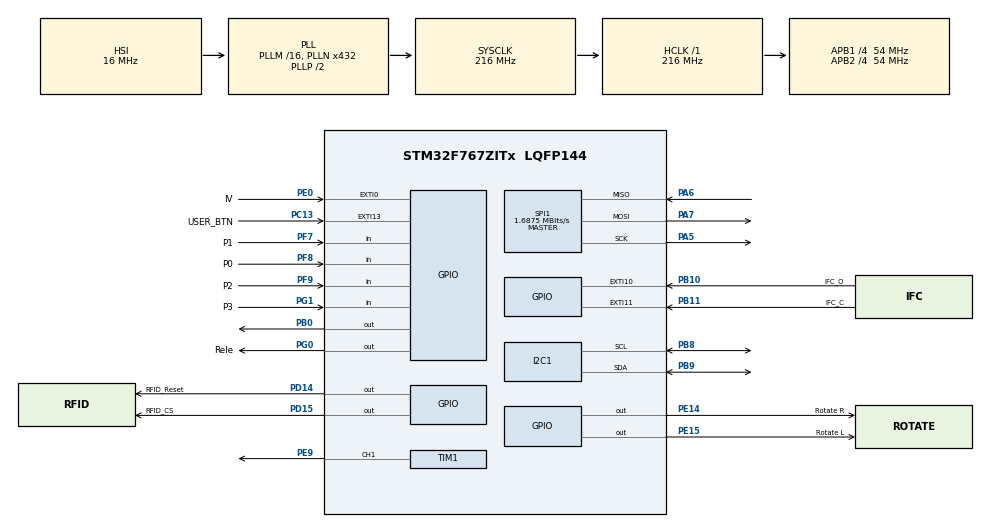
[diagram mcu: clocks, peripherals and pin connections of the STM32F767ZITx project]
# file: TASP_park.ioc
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Dma.I2C1_RX.0.Direction=DMA_PERIPH_TO_MEMORY
Dma.I2C1_RX.0.FIFOMode=DMA_FIFOMODE_DISABLE
Dma.I2C1_RX.0.Instance=DMA1_Stream0
Dma.I2C1_RX.0.MemDataAlignment=DMA_MDATAALIGN_BYTE
Dma.I2C1_RX.0.MemInc=DMA_MINC_ENABLE
Dma.I2C1_RX.0.Mode=DMA_NORMAL
Dma.I2C1_RX.0.PeriphDataAlignment=DMA_PDATAALIGN_BYTE
Dma.I2C1_RX.0.PeriphInc=DMA_PINC_DISABLE
Dma.I2C1_RX.0.Priority=DMA_PRIORITY_LOW
Dma.I2C1_TX.1.Direction=DMA_MEMORY_TO_PERIPH
Dma.I2C1_TX.1.FIFOMode=DMA_FIFOMODE_DISABLE
Dma.I2C1_TX.1.Instance=DMA1_Stream6
Dma.I2C1_TX.1.MemDataAlignment=DMA_MDATAALIGN_BYTE
Dma.I2C1_TX.1.MemInc=DMA_MINC_ENABLE
Dma.I2C1_TX.1.Mode=DMA_NORMAL
Dma.I2C1_TX.1.PeriphDataAlignment=DMA_PDATAALIGN_BYTE
Dma.I2C1_TX.1.PeriphInc=DMA_PINC_DISABLE
Dma.I2C1_TX.1.Priority=DMA_PRIORITY_LOW
Dma.Request0=I2C1_RX
Dma.Request1=I2C1_TX
I2C1.Speed=100
I2C1.Timing=0x20404768
Mcu.Family=STM32F7
Mcu.Name=STM32F767ZITx
Mcu.Package=LQFP144
NVIC.DMA1_Stream0_IRQn=true\:0\:0\:false\:false\:true\:false\:true
NVIC.DMA1_Stream6_IRQn=true\:0\:0\:false\:false\:true\:false\:true
NVIC.EXTI0_IRQn=true\:0\:0\:false\:false\:true\:true\:true
NVIC.EXTI15_10_IRQn=true\:0\:0\:false\:false\:true\:true\:true
NVIC.I2C1_EV_IRQn=true\:0\:0\:true\:false\:true\:true\:true
NVIC.PriorityGroup=NVIC_PRIORITYGROUP_4
NVIC.TIM2_IRQn=true\:0\:0\:false\:false\:true\:true\:true
PA5.Mode=Full_Duplex_Master
PA5.Signal=SPI1_SCK
PA6.Mode=Full_Duplex_Master
PA6.Signal=SPI1_MISO
PA7.Mode=Full_Duplex_Master
PA7.Signal=SPI1_MOSI
PB0.Signal=GPIO_Output
PB10.GPIO_Label=IFC_O
PB10.GPIO_ModeDefaultEXTI=GPIO_MODE_IT_FALLING
PB10.Signal=GPXTI10
PB11.GPIO_Label=IFC_C
PB11.GPIO_ModeDefaultEXTI=GPIO_MODE_IT_FALLING
PB11.Signal=GPXTI11
PB8.GPIO_Pu=GPIO_PULLUP
PB8.Mode=I2C
PB8.Signal=I2C1_SCL
PB9.GPIO_Pu=GPIO_PULLUP
PB9.Mode=I2C
PB9.Signal=I2C1_SDA
PC13.GPIO_Label=USER_BTN
PC13.Signal=GPXTI13
PD14.GPIO_Label=RFID_Reset
PD14.Signal=GPIO_Output
PD15.GPIO_Label=RFID_CS
PD15.Signal=GPIO_Output
PE0.GPIO_Label=IV
PE0.GPIO_ModeDefaultEXTI=GPIO_MODE_IT_FALLING
PE0.Signal=GPXTI0
PE14.GPIO_Label=Rotate R
PE14.Signal=GPIO_Output
PE15.GPIO_Label=Rotate L
PE15.Signal=GPIO_Output
PE9.Signal=S_TIM1_CH1
PF7.GPIO_Label=P1
PF7.Signal=GPIO_Input
PF8.GPIO_Label=P0
PF8.Signal=GPIO_Input
PF9.GPIO_Label=P2
PF9.Signal=GPIO_Input
PG0.GPIO_Label=Rele
PG0.Signal=GPIO_Output
PG1.GPIO_Label=P3
PG1.Signal=GPIO_Input
ProjectManager.HeapSize=0x200
ProjectManager.StackSize=0x400
ProjectManager.TargetToolchain=STM32CubeIDE
RCC.AHBFreq_Value=216000000
RCC.APB1CLKDivider=RCC_HCLK_DIV4
RCC.APB1Freq_Value=54000000
RCC.APB1TimFreq_Value=108000000
RCC.APB2CLKDivider=RCC_HCLK_DIV4
RCC.APB2Freq_Value=54000000
RCC.APB2TimFreq_Value=108000000
RCC.CortexFreq_Value=216000000
RCC.HCLKFreq_Value=216000000
RCC.HSE_VALUE=25000000
RCC.HSI_VALUE=16000000
RCC.LSE_VALUE=32768
RCC.PLLN=432
RCC.SYSCLKFreq_VALUE=216000000
RCC.SYSCLKSource=RCC_SYSCLKSOURCE_PLLCLK
RCC.USBFreq_Value=216000000
RCC.VCOOutputFreq_Value=432000000
SH.S_TIM1_CH1.0=TIM1_CH1,PWM Generation1 CH1
SPI1.BaudRatePrescaler=SPI_BAUDRATEPRESCALER_32
SPI1.CalculateBaudRate=1.6875 MBits/s
SPI1.DataSize=SPI_DATASIZE_8BIT
SPI1.Direction=SPI_DIRECTION_2LINES
SPI1.Mode=SPI_MODE_MASTER
SPI1.VirtualType=VM_MASTER
TIM1.AutoReloadPreload=TIM_AUTORELOAD_PRELOAD_ENABLE
TIM1.Channel-PWM\ Generation1\ CH1=TIM_CHANNEL_1
TIM1.CounterMode=TIM_COUNTERMODE_UP
TIM1.Period=216
TIM1.Prescaler=1000
TIM1.Pulse-PWM\ Generation1\ CH1=76
TIM2.CounterMode=TIM_COUNTERMODE_UP
TIM2.Period=108000000
TIM2.Prescaler=10
VP_TIM1_VS_ClockSourceINT.Mode=Internal
VP_TIM2_VS_ClockSourceINT.Mode=Internal
board=custom

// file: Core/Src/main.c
/* USER CODE BEGIN Header */
/**
  ******************************************************************************
  * @file           : main.c
  * @brief          : Main program body
  ******************************************************************************
  * @attention
  *
  * Copyright (c) 2022 STMicroelectronics.
  * All rights reserved.
  *
  * This software is licensed under terms that can be found in the LICENSE file
  * in the root directory of this software component.
  * If no LICENSE file comes with this software, it is provided AS-IS.
  *
  ******************************************************************************
  */
/* USER CODE END Header */
#include "main.h"
#include "dma.h"
#include "i2c.h"
#include "spi.h"
#include "tim.h"
#include "gpio.h"

/* USER CODE BEGIN Includes */
#include "FSM.h"
#include "RFID.h"
/* USER CODE END Includes */

void SystemClock_Config(void);

/* USER CODE BEGIN 0 */

struct Tag tag1 = {	{'J','o','a','o',' ','D','i','a','s'},
					{204, 191, 8, 57, 66},
					{0xFF,0xFF,0xFF,0xFF,0xFF,0xFF},
					false,
					true,
					NULL};

struct Tag tag2 = {	{'C', 'A', 'T', 'C', 'H', 'A', 'U'},
					{3, 18, 128, 21, 132},
					{0xFF,0xFF,0xFF,0xFF,0xFF,0xFF},
					false,
					true,
					NULL};

/* USER CODE END 0 */

int main(void)
{

  /* MCU Configuration--------------------------------------------------------*/

  /* Reset of all peripherals, Initializes the Flash interface and the Systick. */
  HAL_Init();

  /* Configure the system clock */
  SystemClock_Config();

  /* Initialize all configured peripherals */
  MX_GPIO_Init();
  MX_TIM1_Init();
  MX_SPI1_Init();
  MX_DMA_Init();
  MX_I2C1_Init();
  MX_TIM2_Init();
  /* USER CODE BEGIN 2 */
  HAL_TIM_Base_Start_IT(&htim2);
  MFRC522_Init();
  addTag(&tag1);
  //addTag(&tag2);
  lcd_init();
  /* USER CODE END 2 */

  /* Infinite loop */
  /* USER CODE BEGIN WHILE */
  while (1)
  {
	  encodeFSM();
    /* USER CODE END WHILE */

  }
}

void SystemClock_Config(void)
{
  RCC_OscInitTypeDef RCC_OscInitStruct = {0};
  RCC_ClkInitTypeDef RCC_ClkInitStruct = {0};

  /** Configure the main internal regulator output voltage
  */
  __HAL_RCC_PWR_CLK_ENABLE();
  __HAL_PWR_VOLTAGESCALING_CONFIG(PWR_REGULATOR_VOLTAGE_SCALE1);
  /** Initializes the RCC Oscillators according to the specified parameters
  * in the RCC_OscInitTypeDef structure.
  */
  RCC_OscInitStruct.OscillatorType = RCC_OSCILLATORTYPE_HSI;
  RCC_OscInitStruct.HSIState = RCC_HSI_ON;
  RCC_OscInitStruct.HSICalibrationValue = RCC_HSICALIBRATION_DEFAULT;
  RCC_OscInitStruct.PLL.PLLState = RCC_PLL_ON;
  RCC_OscInitStruct.PLL.PLLSource = RCC_PLLSOURCE_HSI;
  RCC_OscInitStruct.PLL.PLLM = 16;
  RCC_OscInitStruct.PLL.PLLN = 432;
  RCC_OscInitStruct.PLL.PLLP = RCC_PLLP_DIV2;
  RCC_OscInitStruct.PLL.PLLQ = 2;
  RCC_OscInitStruct.PLL.PLLR = 2;
  if (HAL_RCC_OscConfig(&RCC_OscInitStruct) != HAL_OK)
  {
    Error_Handler();
  }
  /** Activate the Over-Drive mode
  */
  if (HAL_PWREx_EnableOverDrive() != HAL_OK)
  {
    Error_Handler();
  }
  /** Initializes the CPU, AHB and APB buses clocks
  */
  RCC_ClkInitStruct.ClockType = RCC_CLOCKTYPE_HCLK|RCC_CLOCKTYPE_SYSCLK
                              |RCC_CLOCKTYPE_PCLK1|RCC_CLOCKTYPE_PCLK2;
  RCC_ClkInitStruct.SYSCLKSource = RCC_SYSCLKSOURCE_PLLCLK;
  RCC_ClkInitStruct.AHBCLKDivider = RCC_SYSCLK_DIV1;
  RCC_ClkInitStruct.APB1CLKDivider = RCC_HCLK_DIV4;
  RCC_ClkInitStruct.APB2CLKDivider = RCC_HCLK_DIV4;

  if (HAL_RCC_ClockConfig(&RCC_ClkInitStruct, FLASH_LATENCY_7) != HAL_OK)
  {
    Error_Handler();
  }
}

void Error_Handler(void)
{
  __disable_irq();
  while (1)
  {
  }
}
